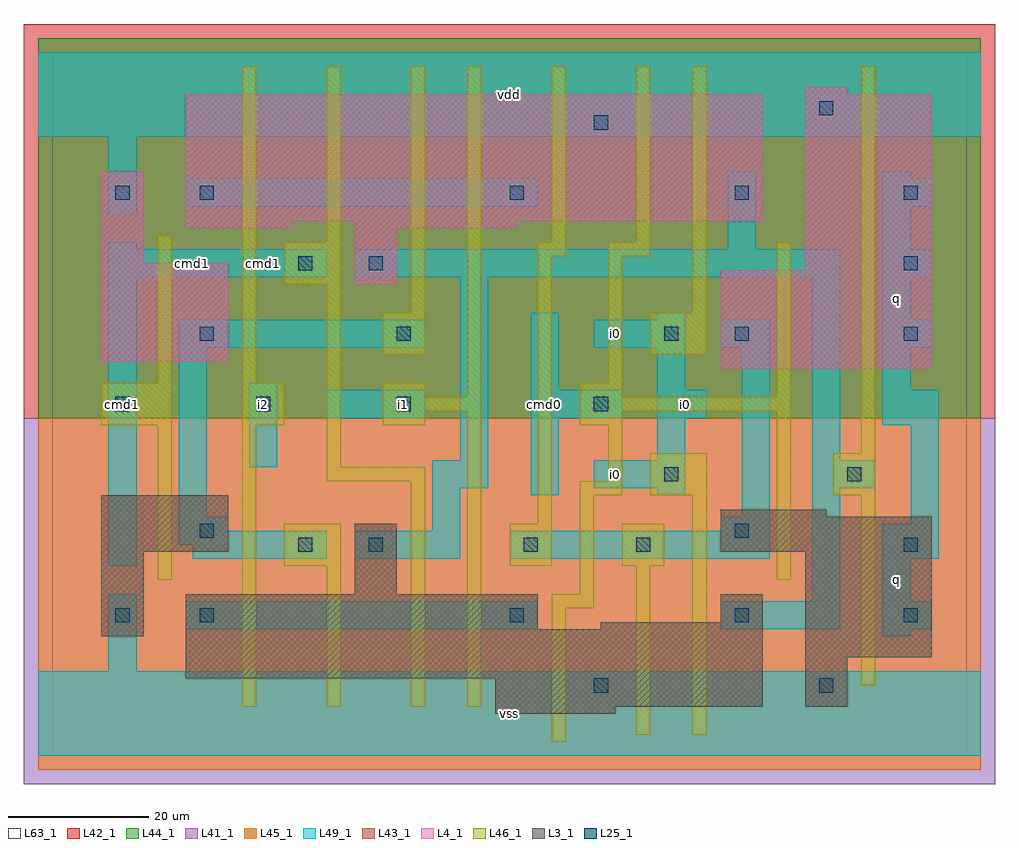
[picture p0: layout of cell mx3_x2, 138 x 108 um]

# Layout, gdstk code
import gdstk
lib = gdstk.Library(unit=1e-6, precision=1e-09)
def R(c, l, rs):  # rectangles x0, y0, x1, y1
    for r in rs: c.add(gdstk.rectangle(r[:2], r[2:], *l))
def A(c, l, x, y, w, h, nx, ny, dx, dy):  # array of equal rectangles
    R(c, l, [(x+i*dx, y+j*dy, x+i*dx+w, y+j*dy+h) for i in range(nx) for j in range(ny)])
L3_1 = (3, 1)
L4_1 = (4, 1)
L25_1 = (25, 1)
L41_1 = (41, 1)
L42_1 = (42, 1)
L43_1 = (43, 1)
L44_1 = (44, 1)
L45_1 = (45, 1)
L46_1 = (46, 1)
L49_1 = (49, 1)
L63_1 = (63, 1)

mx3_x2 = lib.new_cell('mx3_x2')
R(mx3_x2, L3_1, [(63,6,80,7), (63,7,101,11), (107,7,113,14), (19,11,101,18), (107,14,125,29), (7,17,13,29), (19,18,69,23), (78,18,101,19), (95,19,101,23), (43,23,49,33), (7,29,25,37), (95,29,125,34), (95,34,110,35)])
R(mx3_x2, L4_1, [(95,55,125,69), (7,56,25,70), (43,67,49,75), (107,69,125,94), (7,70,13,83), (19,75,34,76), (43,75,66,76), (19,76,101,94), (107,94,113,95)])
A(mx3_x2, L25_1, 77, 9, 2, 2, 1, 3, 0, 40)
A(mx3_x2, L25_1, 9, 49, 2, 2, 3, 1, 20, 0)
A(mx3_x2, L25_1, 121, 59, 2, 2, 1, 3, 0, 10)
R(mx3_x2, L25_1, [(109,9,111,11), (9,19,11,21), (21,19,23,21), (65,19,67,21), (97,19,99,21), (121,19,123,21), (35,29,37,31), (45,29,47,31), (67,29,69,31), (83,29,85,31), (121,29,123,31), (21,31,23,33), (97,31,99,33), (87,39,89,41), (113,39,115,41), (21,59,23,61), (49,59,51,61), (87,59,89,61), (97,59,99,61), (35,69,37,71), (45,69,47,71), (9,79,11,81), (21,79,23,81), (65,79,67,81), (97,79,99,81), (109,91,111,93)])
R(mx3_x2, L41_1, [(-4,-4,134,48)])
R(mx3_x2, L42_1, [(-4,48,134,104)])
R(mx3_x2, L43_1, [(63,6,80,7), (63,7,101,11), (107,7,113,14), (19,11,101,18), (107,14,125,29), (7,17,13,29), (19,18,69,23), (78,18,101,19), (95,19,101,23), (43,23,49,33), (7,29,25,37), (95,29,125,34), (95,34,110,35), (95,55,125,69), (7,56,25,70), (43,67,49,75), (107,69,125,94), (7,70,13,83), (19,75,34,76), (43,75,66,76), (19,76,101,94), (107,94,113,95)])
R(mx3_x2, L44_1, [(-2,48,132,102)])
R(mx3_x2, L45_1, [(-2,-2,132,48)])
R(mx3_x2, L46_1, [(71,2,73,21), (83,3,85,27), (91,3,93,37), (27,7,29,47), (39,7,41,27), (51,7,53,39), (59,7,61,49), (115,10,117,37), (71,21,77,23), (75,23,77,37), (15,25,17,47), (103,25,105,49), (33,27,41,33), (65,27,71,33), (81,27,87,33), (69,33,71,71), (75,37,81,39), (85,37,93,43), (111,37,117,43), (39,39,53,41), (79,39,81,47), (39,41,41,67), (115,43,117,98), (7,47,17,53), (27,47,33,53), (47,47,53,49), (75,47,81,49), (47,49,61,51), (75,49,105,51), (47,51,53,53), (59,51,61,98), (75,51,81,53), (103,51,105,73), (15,53,17,74), (27,53,29,98), (79,53,81,71), (47,57,53,63), (85,57,93,63), (51,63,53,98), (91,63,93,98), (33,67,41,73), (69,71,73,73), (79,71,85,73), (39,73,41,98), (71,73,73,98), (83,73,85,98)])
A(mx3_x2, L49_1, 118, 52, 4, 6, 1, 3, 0, 10)
A(mx3_x2, L49_1, 118, 58, 7, 4, 1, 3, 0, 10)
R(mx3_x2, L49_1, [(-2,0,132,12), (8,12,12,23), (118,17,122,18), (19,18,69,22), (95,18,112,22), (118,18,125,22), (108,22,112,38), (118,22,122,28), (8,27,12,68), (20,28,39,30), (43,28,58,32), (65,28,102,32), (118,28,126,33), (18,30,39,32), (18,32,25,34), (54,32,58,38), (95,32,102,34), (122,33,126,47), (18,34,22,58), (98,34,102,58), (68,37,72,48), (86,37,90,38), (54,38,62,42), (77,38,90,42), (108,38,117,42), (28,41,32,53), (58,42,62,68), (86,42,90,48), (108,42,112,68), (118,47,126,52), (39,48,53,52), (68,48,81,52), (86,48,93,52), (68,52,72,63), (86,52,90,58), (18,58,53,62), (77,58,90,62), (95,58,102,62), (86,62,90,63), (8,68,39,72), (43,68,112,72), (8,72,12,73), (96,72,100,83), (8,77,12,88), (19,78,69,82), (118,82,122,83), (-2,88,132,100)])
R(mx3_x2, L63_1, [(0,0,130,100)])
mx3_x2.add(gdstk.Label('cmd1', (10,50), layer=49, texttype=1))
mx3_x2.add(gdstk.Label('cmd1', (20,70), layer=49, texttype=1))
mx3_x2.add(gdstk.Label('i2', (30,50), layer=49, texttype=1))
mx3_x2.add(gdstk.Label('cmd1', (30,70), layer=49, texttype=1))
mx3_x2.add(gdstk.Label('vss', (65,6), layer=49, texttype=1))
mx3_x2.add(gdstk.Label('i1', (50,50), layer=49, texttype=1))
mx3_x2.add(gdstk.Label('cmd0', (70,50), layer=49, texttype=1))
mx3_x2.add(gdstk.Label('vdd', (65,94), layer=49, texttype=1))
mx3_x2.add(gdstk.Label('i0', (80,40), layer=49, texttype=1))
mx3_x2.add(gdstk.Label('i0', (90,50), layer=49, texttype=1))
mx3_x2.add(gdstk.Label('i0', (80,60), layer=49, texttype=1))
mx3_x2.add(gdstk.Label('q', (120,25), layer=49, texttype=1))
mx3_x2.add(gdstk.Label('q', (120,65), layer=49, texttype=1))

lib.write_gds('mx3_x2.gds')
